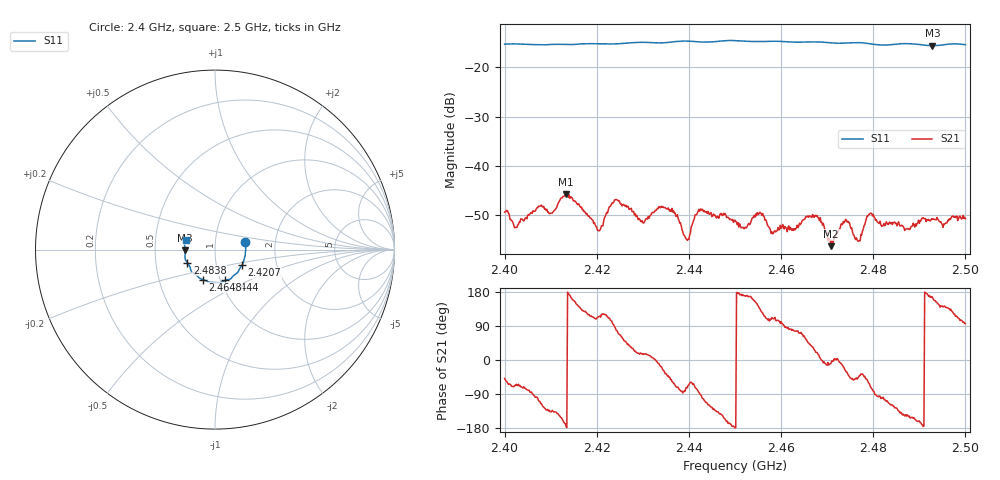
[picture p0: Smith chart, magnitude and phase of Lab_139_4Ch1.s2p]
# Hz S RI R 50
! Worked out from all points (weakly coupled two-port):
!   601 points, 2.4 GHz to 2.5 GHz, reference 50 ohm
!   highest |S21| = -45.80 dB at 2.4133 GHz (marker M1); lowest = -56.3 dB at 2.4708 GHz (marker M2)
!   lowest |S11| = -15.6 dB at 2.4928 GHz (marker M3), VSWR 1.40, Z = 35.8 - j0.327 ohm
!   |S11| at or under -10 dB: start of sweep to end of sweep
!   S12 and S22 are empty: the file has one direction only
!   S11 on the Smith chart (normalised r, x): 2.4 GHz: 1.39, +0.12; 2.4207 GHz: 1.33, -0.24; 2.444 GHz: 1.05, -0.37; 2.4648 GHz: 0.83, -0.29; 2.4838 GHz: 0.73, -0.11; 2.5 GHz: 0.72, +0.08
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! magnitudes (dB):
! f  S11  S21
! 2.4 GHz  -15.3  -49.4
! 2.4025 GHz  -15.2  -52.5
! 2.4133 GHz  -15.4  -45.8
! 2.4167 GHz  -15.2  -48.4
! 2.4207 GHz  -15.2  -53.1
! 2.4242 GHz  -15.2  -46.8
! 2.43 GHz  -14.9  -51.5
! 2.4333 GHz  -15.0  -48.7
! 2.4368 GHz  -14.8  -49.6
! 2.4395 GHz  -14.7  -54.9
! 2.444 GHz  -14.9  -49.7
! 2.45 GHz  -14.6  -51.0
! 2.4648 GHz  -14.9  -51.0
! 2.4667 GHz  -14.8  -50.5
! 2.4708 GHz  -15.0  -56.3
! 2.474 GHz  -15.0  -50.8
! 2.4767 GHz  -15.0  -55.3
! 2.4792 GHz  -15.2  -49.8
! 2.4833 GHz  -15.4  -51.9
! 2.4838 GHz  -15.4  -51.8
! 2.4928 GHz  -15.6  -50.8
! 2.5 GHz  -15.4  -50.7
